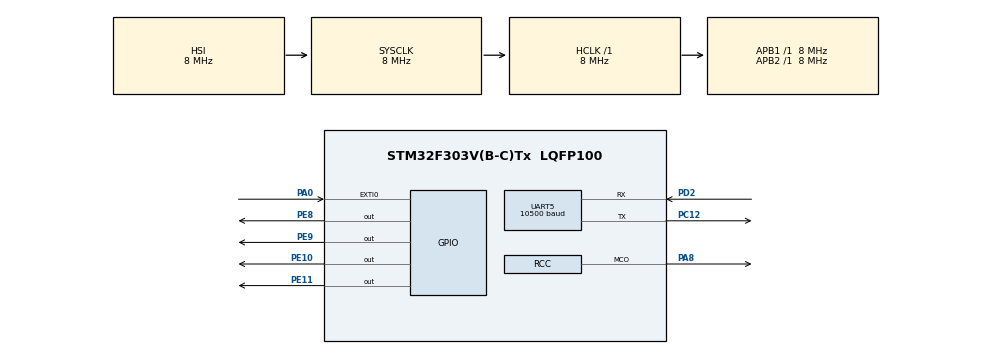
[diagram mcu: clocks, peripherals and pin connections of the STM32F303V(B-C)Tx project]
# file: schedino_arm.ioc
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Mcu.Family=STM32F3
Mcu.Name=STM32F303V(B-C)Tx
Mcu.Package=LQFP100
NVIC.EXTI0_IRQn=true\:0\:0\:false\:false\:true\:true\:true\:true
NVIC.PriorityGroup=NVIC_PRIORITYGROUP_4
NVIC.UART5_IRQn=true\:0\:0\:false\:false\:true\:true\:true\:true
PA0.Signal=GPXTI0
PA13.Mode=Serial_Wire
PA13.Signal=SYS_JTMS-SWDIO
PA14.Mode=Serial_Wire
PA14.Signal=SYS_JTCK-SWCLK
PA8.Mode=Clock-out
PA8.Signal=RCC_MCO
PC12.Mode=Asynchronous
PC12.Signal=UART5_TX
PD2.Mode=Asynchronous
PD2.Signal=UART5_RX
PE10.Signal=GPIO_Output
PE11.Signal=GPIO_Output
PE8.Signal=GPIO_Output
PE9.Signal=GPIO_Output
ProjectManager.HeapSize=0x200
ProjectManager.StackSize=0x400
ProjectManager.TargetToolchain=STM32CubeIDE
RCC.AHBFreq_Value=8000000
RCC.APB1Freq_Value=8000000
RCC.APB2Freq_Value=8000000
RCC.CortexFreq_Value=8000000
RCC.HSE_VALUE=8000000
RCC.HSI_VALUE=8000000
RCC.LSE_VALUE=32768
RCC.SYSCLKFreq_VALUE=8000000
UART5.BaudRate=10500
UART5.TxPinLevelInvertParam=UART_ADVFEATURE_TXINV_DISABLE
board=custom

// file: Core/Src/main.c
/* USER CODE BEGIN Header */
/* USER CODE END Header */
#include "main.h"

UART_HandleTypeDef huart5;

/* USER CODE BEGIN PV */
uint32_t msg = 0;
/* USER CODE END PV */

void SystemClock_Config(void);
static void MX_GPIO_Init(void);
static void MX_UART5_Init(void);

/* USER CODE BEGIN 0 */
void HAL_GPIO_EXTI_Callback(uint16_t GPIO_Pin)
{
msg++;
if(msg==5){
//resetto i led
HAL_GPIO_WritePin(GPIOE, GPIO_PIN_8,GPIO_PIN_RESET);
HAL_GPIO_WritePin(GPIOE, GPIO_PIN_9,GPIO_PIN_RESET);
HAL_GPIO_WritePin(GPIOE, GPIO_PIN_10,GPIO_PIN_RESET);
HAL_GPIO_WritePin(GPIOE, GPIO_PIN_11,GPIO_PIN_RESET);
//resetto il telecomando
msg=0;
HAL_UART_Transmit_IT(&huart5, (uint8_t*)&msg, sizeof (uint32_t));
//invio il reset alla parte operativa
}
if (msg==1){
//invio la modalità 1
HAL_UART_Transmit_IT(&huart5, (uint8_t*)&msg, sizeof (uint32_t));
HAL_GPIO_WritePin(GPIOE, GPIO_PIN_8,GPIO_PIN_SET);

}
if (msg==2){
//invio la modalità 2
HAL_UART_Transmit_IT(&huart5, (uint8_t*)&msg, sizeof (uint32_t));
HAL_GPIO_WritePin(GPIOE, GPIO_PIN_9,GPIO_PIN_SET);

}
if (msg==3){
//invio la modalità 3
HAL_UART_Transmit_IT(&huart5, (uint8_t*)&msg, sizeof (uint32_t));
HAL_GPIO_WritePin(GPIOE, GPIO_PIN_10,GPIO_PIN_SET);

}
if (msg==4){
//invio la modalità 4
HAL_UART_Transmit_IT(&huart5, (uint8_t*)&msg, sizeof (uint32_t));
HAL_GPIO_WritePin(GPIOE, GPIO_PIN_11,GPIO_PIN_SET);

}

  /* Prevent unused argument(s) compilation warning */
  UNUSED(GPIO_Pin);

  /* NOTE: This function should not be modified, when the callback is needed,
           the HAL_GPIO_EXTI_Callback could be implemented in the user file
   */
}
/* USER CODE END 0 */

int main(void)
{

  /* MCU Configuration--------------------------------------------------------*/

  /* Reset of all peripherals, Initializes the Flash interface and the Systick. */
  HAL_Init();

  /* Configure the system clock */
  SystemClock_Config();

  /* Initialize all configured peripherals */
  MX_GPIO_Init();
  MX_UART5_Init();

  /* Infinite loop */
  while(1){
  }

}

void SystemClock_Config(void)
{
  RCC_OscInitTypeDef RCC_OscInitStruct = {0};
  RCC_ClkInitTypeDef RCC_ClkInitStruct = {0};
  RCC_PeriphCLKInitTypeDef PeriphClkInit = {0};

  /** Initializes the RCC Oscillators according to the specified parameters
  * in the RCC_OscInitTypeDef structure.
  */
  RCC_OscInitStruct.OscillatorType = RCC_OSCILLATORTYPE_HSI;
  RCC_OscInitStruct.HSIState = RCC_HSI_ON;
  RCC_OscInitStruct.HSICalibrationValue = RCC_HSICALIBRATION_DEFAULT;
  RCC_OscInitStruct.PLL.PLLState = RCC_PLL_NONE;
  if (HAL_RCC_OscConfig(&RCC_OscInitStruct) != HAL_OK)
  {
    Error_Handler();
  }

  /** Initializes the CPU, AHB and APB buses clocks
  */
  RCC_ClkInitStruct.ClockType = RCC_CLOCKTYPE_HCLK|RCC_CLOCKTYPE_SYSCLK
                              |RCC_CLOCKTYPE_PCLK1|RCC_CLOCKTYPE_PCLK2;
  RCC_ClkInitStruct.SYSCLKSource = RCC_SYSCLKSOURCE_HSI;
  RCC_ClkInitStruct.AHBCLKDivider = RCC_SYSCLK_DIV1;
  RCC_ClkInitStruct.APB1CLKDivider = RCC_HCLK_DIV1;
  RCC_ClkInitStruct.APB2CLKDivider = RCC_HCLK_DIV1;

  if (HAL_RCC_ClockConfig(&RCC_ClkInitStruct, FLASH_LATENCY_0) != HAL_OK)
  {
    Error_Handler();
  }
  PeriphClkInit.PeriphClockSelection = RCC_PERIPHCLK_UART5;
  PeriphClkInit.Uart5ClockSelection = RCC_UART5CLKSOURCE_PCLK1;
  if (HAL_RCCEx_PeriphCLKConfig(&PeriphClkInit) != HAL_OK)
  {
    Error_Handler();
  }
  HAL_RCC_MCOConfig(RCC_MCO, RCC_MCO1SOURCE_SYSCLK, RCC_MCODIV_1);
}

static void MX_UART5_Init(void)
{

  huart5.Instance = UART5;
  huart5.Init.BaudRate = 10500;
  huart5.Init.WordLength = UART_WORDLENGTH_8B;
  huart5.Init.StopBits = UART_STOPBITS_1;
  huart5.Init.Parity = UART_PARITY_NONE;
  huart5.Init.Mode = UART_MODE_TX_RX;
  huart5.Init.HwFlowCtl = UART_HWCONTROL_NONE;
  huart5.Init.OverSampling = UART_OVERSAMPLING_16;
  huart5.Init.OneBitSampling = UART_ONE_BIT_SAMPLE_DISABLE;
  huart5.AdvancedInit.AdvFeatureInit = UART_ADVFEATURE_NO_INIT;
  if (HAL_UART_Init(&huart5) != HAL_OK)
  {
    Error_Handler();
  }

}

static void MX_GPIO_Init(void)
{
  GPIO_InitTypeDef GPIO_InitStruct = {0};

  /* GPIO Ports Clock Enable */
  __HAL_RCC_GPIOA_CLK_ENABLE();
  __HAL_RCC_GPIOE_CLK_ENABLE();
  __HAL_RCC_GPIOC_CLK_ENABLE();
  __HAL_RCC_GPIOD_CLK_ENABLE();

  /*Configure GPIO pin Output Level */
  HAL_GPIO_WritePin(GPIOE, GPIO_PIN_8|GPIO_PIN_9|GPIO_PIN_10|GPIO_PIN_11, GPIO_PIN_RESET);

  /*Configure GPIO pin : PA0 */
  GPIO_InitStruct.Pin = GPIO_PIN_0;
  GPIO_InitStruct.Mode = GPIO_MODE_IT_RISING;
  GPIO_InitStruct.Pull = GPIO_NOPULL;
  HAL_GPIO_Init(GPIOA, &GPIO_InitStruct);

  /*Configure GPIO pins : PE8 PE9 PE10 PE11 */
  GPIO_InitStruct.Pin = GPIO_PIN_8|GPIO_PIN_9|GPIO_PIN_10|GPIO_PIN_11;
  GPIO_InitStruct.Mode = GPIO_MODE_OUTPUT_PP;
  GPIO_InitStruct.Pull = GPIO_NOPULL;
  GPIO_InitStruct.Speed = GPIO_SPEED_FREQ_LOW;
  HAL_GPIO_Init(GPIOE, &GPIO_InitStruct);

  /*Configure GPIO pin : PA8 */
  GPIO_InitStruct.Pin = GPIO_PIN_8;
  GPIO_InitStruct.Mode = GPIO_MODE_AF_PP;
  GPIO_InitStruct.Pull = GPIO_NOPULL;
  GPIO_InitStruct.Speed = GPIO_SPEED_FREQ_LOW;
  GPIO_InitStruct.Alternate = GPIO_AF0_MCO;
  HAL_GPIO_Init(GPIOA, &GPIO_InitStruct);

  /* EXTI interrupt init*/
  HAL_NVIC_SetPriority(EXTI0_IRQn, 0, 0);
  HAL_NVIC_EnableIRQ(EXTI0_IRQn);

}

void Error_Handler(void)
{
}
